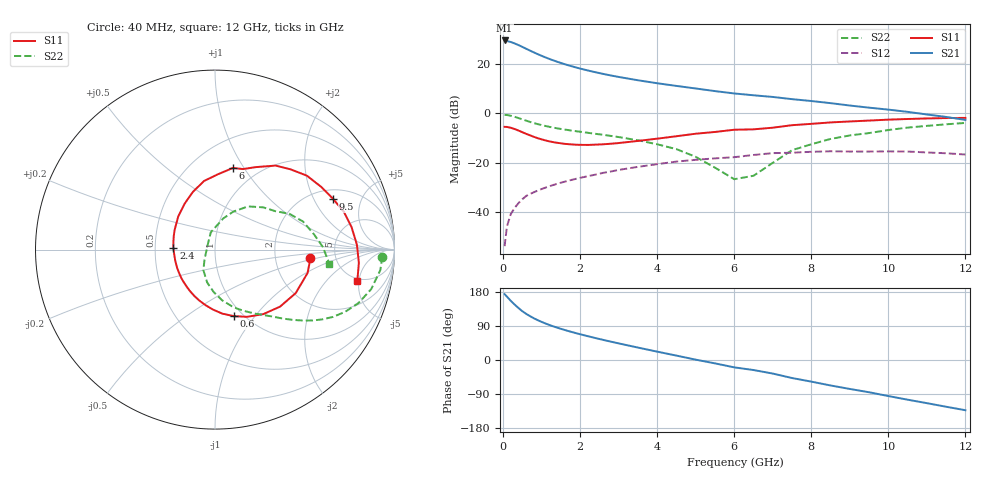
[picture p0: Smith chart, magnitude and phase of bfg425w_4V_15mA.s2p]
! Filename: 415bfg425.001
! BFG425W Field C1
! V1=8.370E-001V,V2=4.000E+000V, I1=1.767E-004A, I2=1.500E-002A
# GHz  S  MA  R 50
!  S11  S21  S12  S22
!Freq(GHz)  Mag  Ang  Mag  Ang  Mag  Ang  Mag  Ang
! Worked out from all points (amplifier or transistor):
!   44 points, 40 MHz to 12 GHz, reference 50 ohm
!   highest |S21| = 29.7 dB at 40 MHz (marker M1)
!   |S21| within 3 dB of that: start of sweep to 550.5 MHz
!   unconditionally stable (mu >= 1): start of sweep to 40.81 MHz; 1.594 GHz to end of sweep
!   at 700 MHz: K = 0.67, MSG = 29.2 dB, |S12| = -32.8 dB
!   at 2.4 GHz: K = 1.14, MAG = 18.6 dB, |S12| = -24.9 dB
!   at 12 GHz: K = 1.36, MAG = 3.5 dB, |S12| = -16.7 dB
!   S11 on the Smith chart (normalised r, x): 40 MHz: 3.22, -0.44; 600 MHz: 0.91, -0.79; 2.4 GHz: 0.62, +0.01; 6 GHz: 0.77, +0.90; 9.5 GHz: 2.47, +2.87; 12 GHz: 4.62, -4.76
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0.04  0.534 -5.3  30.48 173.8  0.002 61.5  0.933 -2.4
0.1  0.532 -14.2  29.64 167.3  0.005 71.3  0.928 -7.1
0.2  0.511 -28.3  28.35 156.1  0.009 71.0  0.898 -14.2
0.3  0.482 -41.2  26.51 146.3  0.012 68.5  0.854 -20.3
0.4  0.449 -53.2  24.54 137.1  0.015 65.2  0.805 -25.4
0.5  0.415 -64.5  22.57 128.8  0.018 62.4  0.757 -29.7
0.6  0.385 -74.3  20.65 121.8  0.021 60.6  0.712 -33.1
0.8  0.334 -92.1  17.41 110.1  0.025 57.5  0.637 -38.4
0.9  0.314 -99.7  16.05 105.1  0.027 56.6  0.606 -40.5
1  0.297 -107.1  14.85 100.6  0.029 55.7  0.58 -42.4
1.2  0.271 -120.4  12.86 92.5  0.033 54.4  0.535 -45.8
1.6  0.241 -144.2  10.04 79.2  0.041 52.0  0.471 -51.5
2.2  0.229 -173.7  7.476 62.8  0.053 47.4  0.404 -60.3
2.4  0.232 177.5  6.88 57.9  0.057 45.6  0.385 -63.4
3.5  0.276 137.9  4.729 32.8  0.082 33.1  0.285 -82.1
4.5  0.344 111.1  3.629 11.6  0.105 19.2  0.188 -103.5
6  0.466 77.6  2.549 -19.4  0.129 -4.8  0.046 157.6
6.5  0.475 70.8  2.341 -26.5  0.143 -7.6  0.054 134.6
8.5  0.657 38.8  1.62 -67.2  0.17 -44.6  0.303 52.5
9.5  0.716 23.3  1.311 -85.1  0.168 -61.5  0.399 32.4
10.5  0.771 9.4  1.077 -104.7  0.168 -80.2  0.515 17.7
12  0.812 -12.5  0.738 -132.5  0.146 -110.6  0.642 -7.0
